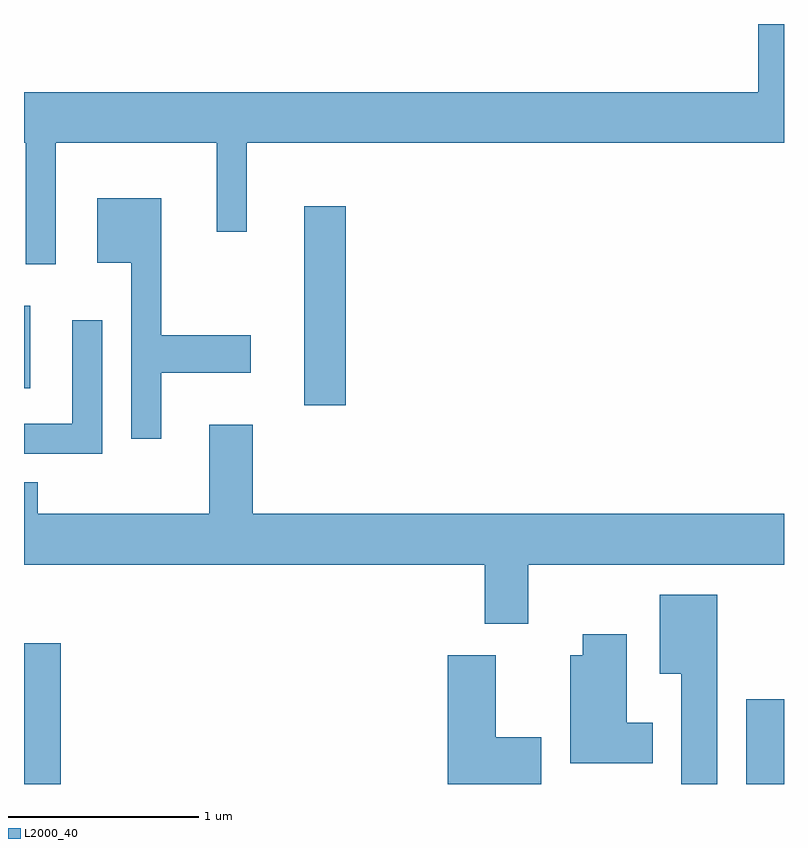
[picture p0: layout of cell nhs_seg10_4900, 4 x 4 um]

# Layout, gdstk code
import gdstk
lib = gdstk.Library(unit=1e-6, precision=1e-09)
def R(c, l, rs):  # rectangles x0, y0, x1, y1
    for r in rs: c.add(gdstk.rectangle(r[:2], r[2:], *l))
def P(c, l, *ps):  # polygons
    for p in ps: c.add(gdstk.Polygon(p, *l))
L2000_40 = (2000, 40)

nhs_seg10_4900 = lib.new_cell('nhs_seg10_4900')
R(nhs_seg10_4900, L2000_40, [(329.611,2130.522,329.804,2131.264), (333.411,2130.522,333.611,2130.969), (331.086,2132.516,331.304,2133.564), (329.611,2132.606,329.644,2133.039)])
P(nhs_seg10_4900, L2000_40, [(329.779,2133.896),(330.626,2133.896),(330.626,2133.428),(330.784,2133.428),(330.784,2133.896),(333.611,2133.896),(333.611,2134.522),(333.476,2134.522),(333.476,2134.164),(329.611,2134.164),(329.611,2133.896),(329.621,2133.896),(329.621,2133.258),(329.779,2133.258)],
  [(330.334,2132.686),(330.804,2132.686),(330.804,2132.884),(330.334,2132.884),(330.334,2133.604),(329.996,2133.604),(329.996,2133.266),(330.176,2133.266),(330.176,2132.338),(330.334,2132.338)],
  [(330.024,2132.963),(329.866,2132.963),(329.866,2132.419),(329.611,2132.419),(329.611,2132.261),(330.024,2132.261)],
  [(332.264,2131.676),(333.611,2131.676),(333.611,2131.944),(330.814,2131.944),(330.814,2132.414),(330.586,2132.414),(330.586,2131.944),(329.684,2131.944),(329.684,2132.109),(329.611,2132.109),(329.611,2131.676),(332.036,2131.676),(332.036,2131.366),(332.264,2131.366)],
  [(333.259,2131.519),(332.956,2131.519),(332.956,2131.101),(333.071,2131.101),(333.071,2130.522),(333.259,2130.522)],
  [(332.919,2130.844),(332.784,2130.844),(332.784,2131.309),(332.551,2131.309),(332.551,2131.199),(332.486,2131.199),(332.486,2130.631),(332.919,2130.631)],
  [(332.334,2130.769),(332.094,2130.769),(332.094,2131.199),(331.841,2131.199),(331.841,2130.522),(332.334,2130.522)])

lib.write_gds('nhs_seg10_4900.gds')
